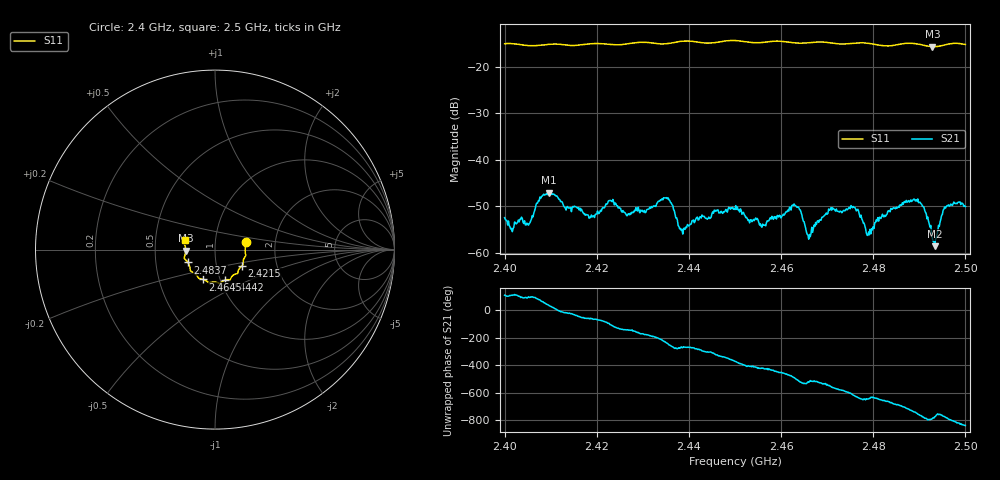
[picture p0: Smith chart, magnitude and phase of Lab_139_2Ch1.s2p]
# Hz S RI R 50
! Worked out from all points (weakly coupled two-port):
!   601 points, 2.4 GHz to 2.5 GHz, reference 50 ohm
!   highest |S21| = -47.11 dB at 2.4097 GHz (marker M1); lowest = -58.6 dB at 2.4933 GHz (marker M2)
!   lowest |S11| = -15.7 dB at 2.4928 GHz (marker M3), VSWR 1.39, Z = 35.9 - j0.382 ohm
!   |S11| at or under -10 dB: start of sweep to end of sweep
!   S12 and S22 are empty: the file has one direction only
!   S11 on the Smith chart (normalised r, x): 2.4 GHz: 1.41, +0.12; 2.4215 GHz: 1.33, -0.25; 2.4442 GHz: 1.05, -0.37; 2.4645 GHz: 0.83, -0.29; 2.4837 GHz: 0.73, -0.11; 2.5 GHz: 0.71, +0.07
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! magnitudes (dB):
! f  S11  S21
! 2.4 GHz  -15.1  -52.5
! 2.405 GHz  -15.5  -53.8
! 2.4097 GHz  -15.2  -47.1
! 2.4167 GHz  -15.3  -50.7
! 2.4215 GHz  -15.1  -50.4
! 2.4333 GHz  -15.1  -49.0
! 2.4357 GHz  -15.0  -48.7
! 2.4383 GHz  -14.6  -55.2
! 2.4442 GHz  -15.0  -52.6
! 2.45 GHz  -14.4  -50.7
! 2.4645 GHz  -15.0  -51.9
! 2.4667 GHz  -14.8  -54.5
! 2.4708 GHz  -14.9  -50.3
! 2.4762 GHz  -15.0  -50.6
! 2.479 GHz  -15.0  -55.5
! 2.4833 GHz  -15.6  -51.1
! 2.4837 GHz  -15.5  -51.2
! 2.4898 GHz  -15.2  -49.2
! 2.4928 GHz  -15.7  -57.0
! 2.4933 GHz  -15.7  -58.6
! 2.4957 GHz  -15.3  -50.4
! 2.5 GHz  -15.3  -50.1
